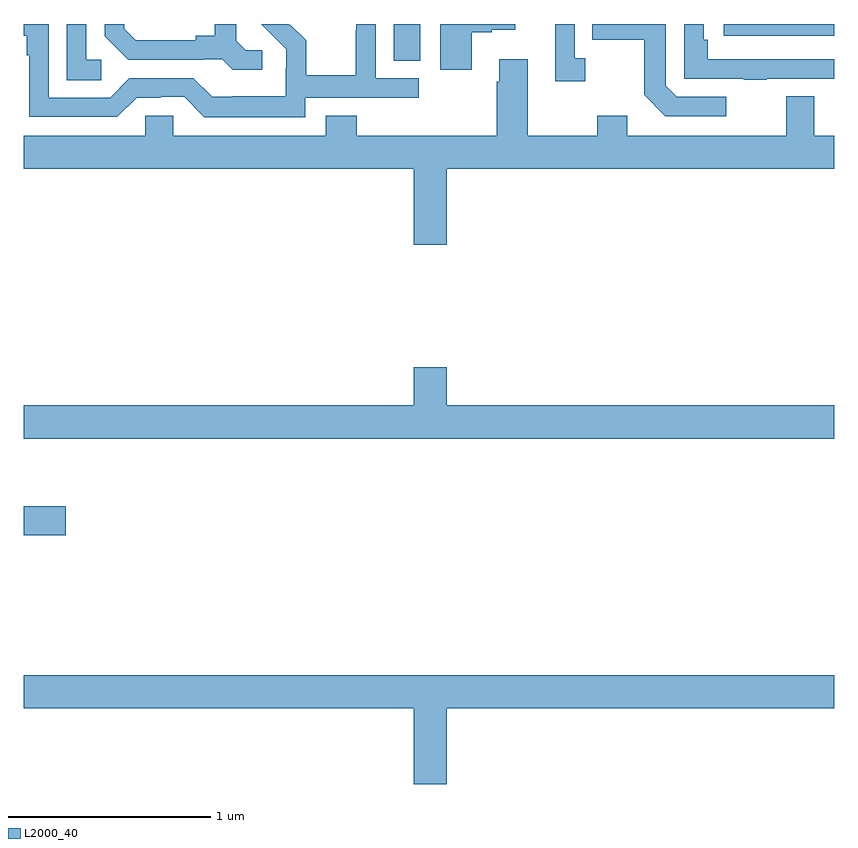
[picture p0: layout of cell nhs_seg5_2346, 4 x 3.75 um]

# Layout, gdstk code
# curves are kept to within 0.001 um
import gdstk
lib = gdstk.Library(unit=1e-6, precision=1e-09)
def R(c, l, rs):  # rectangles x0, y0, x1, y1
    for r in rs: c.add(gdstk.rectangle(r[:2], r[2:], *l))
def P(c, l, *ps):  # polygons
    for p in ps: c.add(gdstk.Polygon(p, *l))
L2000_40 = (2000, 40)

nhs_seg5_2346 = lib.new_cell('nhs_seg5_2346')
R(nhs_seg5_2346, L2000_40, [(247,864.275,247.207,864.417), (248.825,866.617,248.956,866.799), (250.455,866.742,251,866.799)])
P(nhs_seg5_2346, L2000_40, [(248.388,866.436),(248.95,866.436),(248.95,866.532),(248.736,866.532),(248.736,866.799),(248.64,866.799),(248.64,866.768),(248.638,866.768),(248.638,866.545),(248.393,866.545),(248.393,866.719),(248.316,866.796),(248.313,866.793),(248.307,866.799),(248.171,866.799),(248.294,866.674),(248.294,866.577),(248.292,866.577),(248.292,866.443),(248.029,866.443),(248.029,866.439),(247.929,866.439),(247.836,866.532),(247.521,866.532),(247.425,866.436),(247.122,866.436),(247.122,866.799),(247,866.799),(247,866.742),(247.013,866.742),(247.013,866.645),(247.026,866.645),(247.026,866.34),(247.461,866.34),(247.557,866.436),(247.676,866.436),(247.676,866.439),(247.791,866.439),(247.891,866.339),(248.388,866.339)],
  [(250.667,866.529),(251,866.529),(251,866.625),(250.376,866.625),(250.376,866.722),(250.356,866.722),(250.356,866.799),(250.26,866.799),(250.26,866.529),(250.555,866.529),(250.555,866.524),(250.667,866.524)],
  [(249.211,866.759),(249.311,866.759),(249.311,866.771),(249.427,866.771),(249.427,866.799),(249.056,866.799),(249.056,866.574),(249.211,866.574)],
  [(250.468,866.439),(250.224,866.439),(250.17,866.493),(250.17,866.799),(249.805,866.799),(249.805,866.722),(250.062,866.722),(250.062,866.449),(250.167,866.343),(250.468,866.343)],
  [(247.381,866.622),(247.308,866.622),(247.308,866.799),(247.212,866.799),(247.212,866.521),(247.381,866.521)],
  [(248.176,866.67),(248.094,866.67),(248.047,866.717),(248.047,866.799),(247.943,866.799),(247.943,866.741),(247.847,866.741),(247.847,866.718),(247.552,866.718),(247.495,866.775),(247.495,866.799),(247.398,866.799),(247.398,866.738),(247.514,866.622),(247.886,866.622),(247.886,866.625),(247.98,866.625),(248.032,866.573),(248.176,866.573)],
  [(249.772,866.63),(249.72,866.63),(249.72,866.799),(249.623,866.799),(249.623,866.517),(249.772,866.517)],
  [(249.088,866.084),(251,866.084),(251,866.248),(250.903,866.248),(250.903,866.443),(250.763,866.443),(250.763,866.248),(249.979,866.248),(249.979,866.347),(249.832,866.347),(249.832,866.248),(249.487,866.248),(249.487,866.626),(249.347,866.626),(249.347,866.513),(249.335,866.513),(249.335,866.248),(248.642,866.248),(248.642,866.347),(248.489,866.347),(248.489,866.248),(247.737,866.248),(247.737,866.346),(247.599,866.346),(247.599,866.248),(247,866.248),(247,866.084),(248.924,866.084),(248.924,865.71),(249.088,865.71)],
  [(251,864.916),(249.088,864.916),(249.088,865.105),(248.924,865.105),(248.924,864.916),(247,864.916),(247,864.752),(251,864.752)],
  [(249.088,863.42),(251,863.42),(251,863.584),(247,863.584),(247,863.42),(248.924,863.42),(248.924,863.046),(249.088,863.046)])

lib.write_gds('nhs_seg5_2346.gds')
